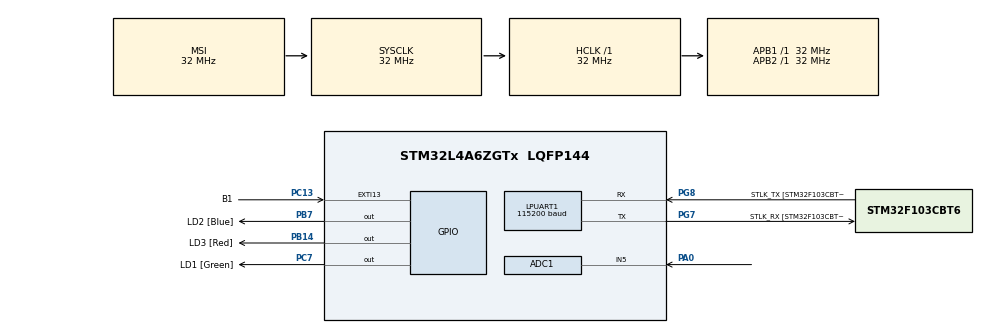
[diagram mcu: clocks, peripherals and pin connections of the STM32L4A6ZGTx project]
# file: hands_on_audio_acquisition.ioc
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ADC1.Channel-0\#ChannelRegularConversion=ADC_CHANNEL_5
ADC1.DMAContinuousRequests=ENABLE
ADC1.ExternalTrigConv=ADC_EXTERNALTRIG_T3_TRGO
ADC1.NbrOfConversionFlag=1
ADC1.OffsetNumber-0\#ChannelRegularConversion=ADC_OFFSET_NONE
ADC1.Rank-0\#ChannelRegularConversion=1
ADC1.SamplingTime-0\#ChannelRegularConversion=ADC_SAMPLETIME_2CYCLES_5
ADC1.master=1
Dma.ADC1.0.Direction=DMA_PERIPH_TO_MEMORY
Dma.ADC1.0.Instance=DMA1_Channel1
Dma.ADC1.0.MemDataAlignment=DMA_MDATAALIGN_HALFWORD
Dma.ADC1.0.MemInc=DMA_MINC_ENABLE
Dma.ADC1.0.Mode=DMA_CIRCULAR
Dma.ADC1.0.PeriphDataAlignment=DMA_PDATAALIGN_HALFWORD
Dma.ADC1.0.PeriphInc=DMA_PINC_DISABLE
Dma.ADC1.0.Priority=DMA_PRIORITY_LOW
Dma.Request0=ADC1
LPUART1.AutoBaudRateEnableParam=UART_ADVFEATURE_AUTOBAUDRATE_DISABLE
LPUART1.BaudRate=115200
LPUART1.DMADisableonRxErrorParam=UART_ADVFEATURE_DMA_ENABLEONRXERROR
LPUART1.DataInvertParam=UART_ADVFEATURE_DATAINV_DISABLE
LPUART1.MSBFirstParam=UART_ADVFEATURE_MSBFIRST_DISABLE
LPUART1.Mode=UART_MODE_TX_RX
LPUART1.OneBitSampling=UART_ONE_BIT_SAMPLE_DISABLE
LPUART1.OverrunDisableParam=UART_ADVFEATURE_OVERRUN_ENABLE
LPUART1.Parity=UART_PARITY_NONE
LPUART1.RxPinLevelInvertParam=UART_ADVFEATURE_RXINV_DISABLE
LPUART1.StopBits=UART_STOPBITS_1
LPUART1.SwapParam=UART_ADVFEATURE_SWAP_DISABLE
LPUART1.TxPinLevelInvertParam=UART_ADVFEATURE_TXINV_DISABLE
LPUART1.WordLength=UART_WORDLENGTH_8B
Mcu.Family=STM32L4
Mcu.Name=STM32L4A6ZGTx
Mcu.Package=LQFP144
NVIC.DMA1_Channel1_IRQn=true\:0\:0\:false\:false\:true\:false\:true\:true
NVIC.EXTI15_10_IRQn=true\:0\:0\:false\:false\:true\:true\:true\:true
NVIC.PriorityGroup=NVIC_PRIORITYGROUP_4
PA0.Signal=ADCx_IN5
PA13\ (JTMS/SWDIO).GPIO_Label=TMS
PA13\ (JTMS/SWDIO).Mode=Trace_Asynchronous_SW
PA13\ (JTMS/SWDIO).Signal=SYS_JTMS-SWDIO
PA14\ (JTCK/SWCLK).GPIO_Label=TCK
PA14\ (JTCK/SWCLK).Mode=Trace_Asynchronous_SW
PA14\ (JTCK/SWCLK).Signal=SYS_JTCK-SWCLK
PB14.GPIO_Label=LD3 [Red]
PB14.Signal=GPIO_Output
PB3\ (JTDO/TRACESWO).GPIO_Label=SWO
PB3\ (JTDO/TRACESWO).Mode=Trace_Asynchronous_SW
PB3\ (JTDO/TRACESWO).Signal=SYS_JTDO-SWO
PB7.GPIO_Label=LD2 [Blue]
PB7.Signal=GPIO_Output
PC13.GPIO_Label=B1
PC13.Signal=GPXTI13
PC14-OSC32_IN\ (PC14).Mode=LSE-External-Oscillator
PC14-OSC32_IN\ (PC14).Signal=RCC_OSC32_IN
PC15-OSC32_OUT\ (PC15).Mode=LSE-External-Oscillator
PC15-OSC32_OUT\ (PC15).Signal=RCC_OSC32_OUT
PC7.GPIO_Label=LD1 [Green]
PC7.Signal=GPIO_Output
PG7.GPIO_Label=STLK_RX [STM32F103CBT6_PA3]
PG7.Mode=Asynchronous
PG7.Signal=LPUART1_TX
PG8.GPIO_Label=STLK_TX [STM32F103CBT6_PA2]
PG8.Mode=Asynchronous
PG8.Signal=LPUART1_RX
PH1-OSC_OUT\ (PH1).Signal=RCC_OSC_OUT
ProjectManager.HeapSize=0x200
ProjectManager.StackSize=0x400
ProjectManager.TargetToolchain=STM32CubeIDE
RCC.ADCCLockSelection=RCC_ADCCLKSOURCE_SYSCLK
RCC.ADCFreq_Value=32000000
RCC.AHBFreq_Value=32000000
RCC.APB1Freq_Value=32000000
RCC.APB1TimFreq_Value=32000000
RCC.APB2Freq_Value=32000000
RCC.APB2TimFreq_Value=32000000
RCC.CortexFreq_Value=32000000
RCC.FLatency=FLASH_LATENCY_1
RCC.HCLKFreq_Value=32000000
RCC.HSE_VALUE=8000000
RCC.HSI48_VALUE=48000000
RCC.HSI_VALUE=16000000
RCC.MSIClockRange=RCC_MSIRANGE_10
RCC.MSI_VALUE=32000000
RCC.PLLN=71
RCC.PLLR=RCC_PLLR_DIV6
RCC.PLLSAI1N=24
RCC.SYSCLKFreq_VALUE=32000000
RCC.USBFreq_Value=384000000
RCC.VCOOutputFreq_Value=2272000000
SH.ADCx_IN5.0=ADC1_IN5,IN5-Single-Ended
TIM3.Period=195
TIM3.Prescaler=15
TIM3.TIM_MasterOutputTrigger=TIM_TRGO_UPDATE
VP_TIM3_VS_ClockSourceINT.Mode=Internal
board=NUCLEO-L4A6ZG

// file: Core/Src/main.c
/* USER CODE BEGIN Header */
/**
  ******************************************************************************
  * @file           : main.c
  * @brief          : Main program body
  ******************************************************************************
  * @attention
  *
  * <h2><center>&copy; Copyright (c) 2021 STMicroelectronics.
  * All rights reserved.</center></h2>
  *
  * This software component is licensed by ST under BSD 3-Clause license,
  * the "License"; You may not use this file except in compliance with the
  * License. You may obtain a copy of the License at:
  *                        opensource.org/licenses/BSD-3-Clause
  *
  ******************************************************************************
  */
/* USER CODE END Header */
#include "main.h"
#include "adc.h"
#include "dma.h"
#include "usart.h"
#include "tim.h"
#include "gpio.h"

/* USER CODE BEGIN Includes */
#include <stdio.h>
#include "retarget.h"
/* USER CODE END Includes */

/* USER CODE BEGIN PD */
#define ADC_BUF_SIZE 10000
/* USER CODE END PD */

/* USER CODE BEGIN PV */
volatile int state;
volatile uint16_t ADCBuffer[2*ADC_BUF_SIZE]; /* ADC group regular conversion data (array of data) */
volatile uint16_t* ADCData1;
volatile uint16_t* ADCData2;
uint32_t last_press = 0;
char hex_encoded_buffer[4*ADC_BUF_SIZE+1];
/* USER CODE END PV */

void SystemClock_Config(void);
/* USER CODE BEGIN PFP */
void hex_encode(char* s, const uint8_t* buf, size_t len);
void print_buffer(uint16_t *buffer);
uint32_t get_signal_power(uint16_t *buffer, size_t len);
/* USER CODE END PFP */

/* USER CODE BEGIN 0 */
void HAL_GPIO_EXTI_Callback(uint16_t GPIO_Pin) {
	if (GPIO_Pin == B1_Pin) {
		if (HAL_GetTick() - last_press > 200) { // debounce 200 ms
		            last_press = HAL_GetTick();
		            state = 1;
		        }

	}
}
void HAL_ADC_ConvCpltCallback(ADC_HandleTypeDef *hadc){
	if(hadc -> Instance == ADC1){
		uint32_t power = get_signal_power((uint16_t*)ADCData2, ADC_BUF_SIZE);
		printf("Power2: %lu\r\n", power);
//		if (power > 50){
		HAL_ADC_Stop_DMA(&hadc1);
		HAL_TIM_Base_Stop(&htim3);

		HAL_GPIO_WritePin(LD2_GPIO_Port, LD2_Pin, GPIO_PIN_SET);
//		print_buffer((uint16_t *)ADCBuffer);
		HAL_GPIO_WritePin(LD2_GPIO_Port, LD2_Pin, GPIO_PIN_RESET);

//		}

	}

}
//void HAL_ADC_ConvHalfCpltCallback(ADC_HandleTypeDef *hadc){
//	if (hadc -> Instance == ADC1){
//		uint32_t power = get_signal_power((uint16_t*)ADCData1, ADC_BUF_SIZE);
//		printf("Power1: %lu\r\n", power);
//		if (power > 50){
////			HAL_ADC_Stop_DMA(&hadc1);
////			HAL_TIM_Base_Stop(&htim3);
//			print_buffer((uint16_t *)ADCBuffer);
//		}
//	}
//}

void hex_encode(char* s, const uint8_t* buf, size_t len) {
    s[2*len] = '\0'; // A string terminated by a zero char.
    for (size_t i=0; i<len; i++) {
        s[i*2] = "0123456789abcdef"[buf[i] >> 4];
        s[i*2+1] = "0123456789abcdef"[buf[i] & 0xF];
    }
}

void print_buffer(uint16_t *buffer) {
	hex_encode(hex_encoded_buffer, (uint8_t*)buffer, 2*ADC_BUF_SIZE);
	printf("SND:HEX:%s\r\n", hex_encoded_buffer);
}

uint32_t get_signal_power(uint16_t *buffer, size_t len){
	uint64_t sum = 0;
	uint64_t sum2 = 0;
	for (size_t i=0; i<len; i++) {
		sum += (uint64_t) buffer[i];
		sum2 += (uint64_t) buffer[i]*(uint64_t) buffer[i];
	}
	return (uint32_t)(sum2/len - sum*sum/len/len);
}
/* USER CODE END 0 */

int main(void)
{

  /* MCU Configuration--------------------------------------------------------*/

  /* Reset of all peripherals, Initializes the Flash interface and the Systick. */
  HAL_Init();

  /* Configure the system clock */
  SystemClock_Config();

  /* Initialize all configured peripherals */
  MX_GPIO_Init();
  MX_DMA_Init();
  MX_LPUART1_UART_Init();
  MX_ADC1_Init();
  MX_TIM3_Init();
  /* USER CODE BEGIN 2 */
  RetargetInit(&hlpuart1);
  printf("Hello world!\r\n");
  state=0;
  ADCData1 = &ADCBuffer[0];
  ADCData2 = &ADCBuffer[ADC_BUF_SIZE];
  /* USER CODE END 2 */

  /* Infinite loop */
  /* USER CODE BEGIN WHILE */
  while (1)
  {
//	HAL_GPIO_WritePin(LD2_GPIO_Port, LD2_Pin, GPIO_PIN_SET);
//	HAL_Delay(500);
//	HAL_GPIO_WritePin(LD2_GPIO_Port, LD2_Pin, GPIO_PIN_RESET);
//	HAL_Delay(500);

	  /* code to recuperate tension value of sound*/
//	  if (state) {
//	              state = 0;
//
//	              HAL_ADC_Start(&hadc1);
//	              if (HAL_ADC_PollForConversion(&hadc1, HAL_MAX_DELAY) == HAL_OK) {
//	                  uint32_t value = HAL_ADC_GetValue(&hadc1);
//	                  printf("SND:%lu\r\n", value);
//	              }
//	              HAL_ADC_Stop(&hadc1);
//	          }
//	      }

	  /*code to sample data*/
	  if (state){
		  state = 0;
		  HAL_TIM_Base_Start(&htim3);
		  HAL_ADC_Start_DMA(&hadc1, (uint32_t*)ADCBuffer,ADC_BUF_SIZE);

	  }
	  __WFI();

    /* USER CODE END WHILE */

  }
}

void SystemClock_Config(void)
{
  RCC_OscInitTypeDef RCC_OscInitStruct = {0};
  RCC_ClkInitTypeDef RCC_ClkInitStruct = {0};

  /** Configure the main internal regulator output voltage
  */
  if (HAL_PWREx_ControlVoltageScaling(PWR_REGULATOR_VOLTAGE_SCALE1) != HAL_OK)
  {
    Error_Handler();
  }

  /** Initializes the RCC Oscillators according to the specified parameters
  * in the RCC_OscInitTypeDef structure.
  */
  RCC_OscInitStruct.OscillatorType = RCC_OSCILLATORTYPE_MSI;
  RCC_OscInitStruct.MSIState = RCC_MSI_ON;
  RCC_OscInitStruct.MSICalibrationValue = 0;
  RCC_OscInitStruct.MSIClockRange = RCC_MSIRANGE_10;
  RCC_OscInitStruct.PLL.PLLState = RCC_PLL_NONE;
  if (HAL_RCC_OscConfig(&RCC_OscInitStruct) != HAL_OK)
  {
    Error_Handler();
  }

  /** Initializes the CPU, AHB and APB buses clocks
  */
  RCC_ClkInitStruct.ClockType = RCC_CLOCKTYPE_HCLK|RCC_CLOCKTYPE_SYSCLK
                              |RCC_CLOCKTYPE_PCLK1|RCC_CLOCKTYPE_PCLK2;
  RCC_ClkInitStruct.SYSCLKSource = RCC_SYSCLKSOURCE_MSI;
  RCC_ClkInitStruct.AHBCLKDivider = RCC_SYSCLK_DIV1;
  RCC_ClkInitStruct.APB1CLKDivider = RCC_HCLK_DIV1;
  RCC_ClkInitStruct.APB2CLKDivider = RCC_HCLK_DIV1;

  if (HAL_RCC_ClockConfig(&RCC_ClkInitStruct, FLASH_LATENCY_1) != HAL_OK)
  {
    Error_Handler();
  }
}

void Error_Handler(void)
{
  __disable_irq();
  while (1)
  {
  }
}
